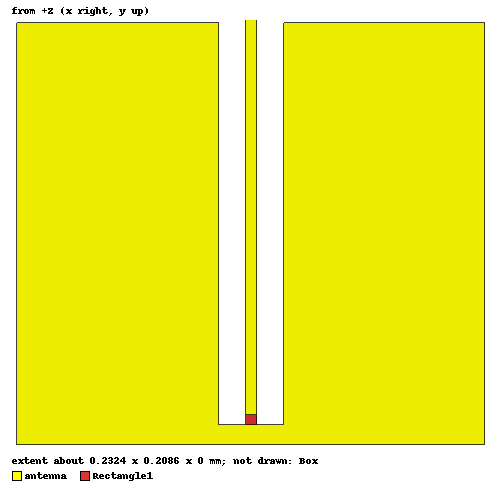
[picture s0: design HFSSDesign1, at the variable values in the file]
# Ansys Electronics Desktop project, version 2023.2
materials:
  vacuum: permittivity=1

design HFSSDesign1 (HFSS, HFSS Terminal Network, model units mm)
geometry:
  gnd = rectangle(corner=((.2324/2) mm, 0mm, 0mm), x_size=-0.2324mm, y_size=0.21mm)
  subtract_patch = rectangle(corner=((0.0324/2) mm, 0.01mm, 0mm), x_size=-0.0324mm, y_size=0.2mm)
  gnd.subtract(subtract_patch)
  antenna = rectangle(corner=(-0.0025mm, 0.01mm, 0mm), x_size=0.005mm, y_size=1.88mm)
  antenna.unite(gnd)
  Rectangle1 = rectangle(corner=(-0.0025mm, 0.015mm, 0mm), x_size=0.005mm, y_size=-0.005mm)
  Box [vacuum] = box(corner=(3mm, 3mm, 3mm), size=(-6mm, -6mm, -6mm))
  coordinate_system RelativeCS1 = origin=(0mm, 0mm, 100mm) x=(1mm, 0mm, 0mm) y=(0mm, 1mm, 0mm)
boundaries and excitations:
  PerfE1: Perfect E Objects=antenna
  Rad1: Radiation Objects=Box
  1: Lumped Port Objects=Rectangle1 LumpedPortType=Modal Modes{Mode1{IntLine{(0, 0.015, 0) -> (0, 0.01, 0)} CharImp=Zpi RenormImp=50ohm}} Impedance=50ohm
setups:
  Setup1: HfssDriven Frequency=60GHz MaxDeltaS=0.02 MaximumPasses=6 MinimumPasses=1 MinimumConvergedPasses=1 PercentRefinement=30 BasisOrder=1 PortAccuracy=2 DrivenSolverType="Direct Solver"
    sweep Sweep: 30GHz to 90GHz, 401 points; Type=Discrete SaveFields SaveRadFields
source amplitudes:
  1:1: 1V 0deg
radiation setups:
  Infinite Sphere1: Infinite Sphere Theta=0deg..180deg step 10deg Phi=0deg..360deg step 10deg
  Rectangle1: Near Rectangle  Length=100dm Width=100dm LengthSamples=100 WidthSamples=100 CoordSystem=Global
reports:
  Small GND S parameter Plot: dB(S(1,1)) vs Freq on Setup1 : Sweep; markers m1 at 60.45GHz
  Gain Plot 1: dB(GainTotal) vs Freq on Setup1 : Sweep, Infinite Sphere1 [Phi=0deg Theta=0deg]
  Gain Plot 2: dB(GainTotal) vs Freq on Setup1 : Sweep, Infinite Sphere1 [Phi=0deg Theta=0deg]
  Small GND Gain Plot: dB(GainTotal) vs Freq on Setup1 : Sweep, Infinite Sphere1 [Phi=0deg Theta=0deg]
  Gain Plot 3: dB(GainTotal) vs Theta on Setup1 : LastAdaptive, Infinite Sphere1 [Phi=0deg Freq=60GHz]
  Gain Plot 4: dB(GainTotal) vs Theta on Setup1 : Sweep, Infinite Sphere1 [Phi=0deg Freq=60GHz]
  Gain Plot 5: dB(GainTotal) vs Theta on Setup1 : LastAdaptive, Infinite Sphere1 [Phi=90deg Freq=60GHz]
  Gain Plot 6: dB(GainTotal) vs Theta on Setup1 : LastAdaptive, Infinite Sphere1 [Theta=0deg Phi=90deg Freq=60GHz]
  Radiation Pattern when 'theta = 0': dB(GainTotal) vs Phi on Setup1 : LastAdaptive, Infinite Sphere1 [Theta=0deg Freq=60GHz]; markers m1 at 270deg, m2 at 360deg, m3 at 90deg, m4 at 180deg
  Gain Plot 7: dB(GainTotal) vs Theta on Setup1 : LastAdaptive, Infinite Sphere1 [Phi=all Freq=60GHz]
  3-d Polar Plot Radiation Gain: dB(GainTotal) vs Phi, Theta on Setup1 : LastAdaptive, Infinite Sphere1 [Freq=60GHz]
  Gain Plot 8: dB(GainTotal) vs Phi on Setup1 : LastAdaptive, Infinite Sphere1 [Theta=90deg Freq=60GHz]; markers m1 at 360deg, m2 at 180deg, m3 at 270deg, m4 at 90deg
  Near E Plot 1: dB(NearETotal) vs _u, _v on Setup1 : LastAdaptive [Freq=60GHz]
  Near E Plot 2: dB(NearETotal) vs _u, _v on Setup1 : LastAdaptive [Freq=60GHz]
  Small GND Power Plot: dB(NearETotal)*0.000025 vs _u, _v on Setup1 : LastAdaptive [Freq=60GHz]
